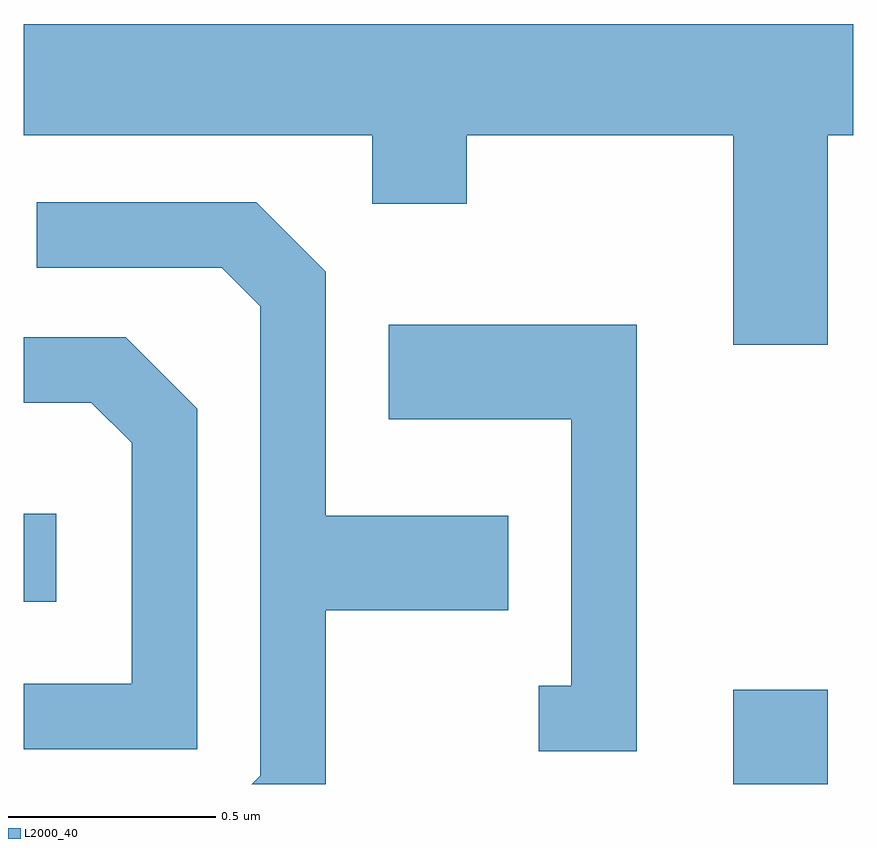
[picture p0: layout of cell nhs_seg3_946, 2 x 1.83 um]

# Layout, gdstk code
import gdstk
lib = gdstk.Library(unit=1e-6, precision=1e-09)
def R(c, l, rs):  # rectangles x0, y0, x1, y1
    for r in rs: c.add(gdstk.rectangle(r[:2], r[2:], *l))
def P(c, l, *ps):  # polygons
    for p in ps: c.add(gdstk.Polygon(p, *l))
L2000_40 = (2000, 40)

nhs_seg3_946 = lib.new_cell('nhs_seg3_946')
R(nhs_seg3_946, L2000_40, [(193.321,1239.892,193.549,1240.119), (191.611,1240.331,191.689,1240.544)])
P(nhs_seg3_946, L2000_40, [(193.549,1241.456),(193.611,1241.456),(193.611,1241.724),(191.611,1241.724),(191.611,1241.456),(192.451,1241.456),(192.451,1241.291),(192.679,1241.291),(192.679,1241.456),(193.321,1241.456),(193.321,1240.951),(193.549,1240.951)],
  [(192.339,1240.311),(192.779,1240.311),(192.779,1240.539),(192.339,1240.539),(192.339,1241.127),(192.172,1241.294),(191.643,1241.294),(191.643,1241.136),(192.089,1241.136),(192.181,1241.044),(192.181,1239.912),(192.161,1239.892),(192.339,1239.892)],
  [(193.089,1240.999),(192.491,1240.999),(192.491,1240.771),(192.931,1240.771),(192.931,1240.129),(192.853,1240.129),(192.853,1239.971),(193.089,1239.971)],
  [(192.029,1240.797),(191.857,1240.969),(191.611,1240.969),(191.611,1240.811),(191.774,1240.811),(191.871,1240.714),(191.871,1240.134),(191.611,1240.134),(191.611,1239.976),(192.029,1239.976)])

lib.write_gds('nhs_seg3_946.gds')
